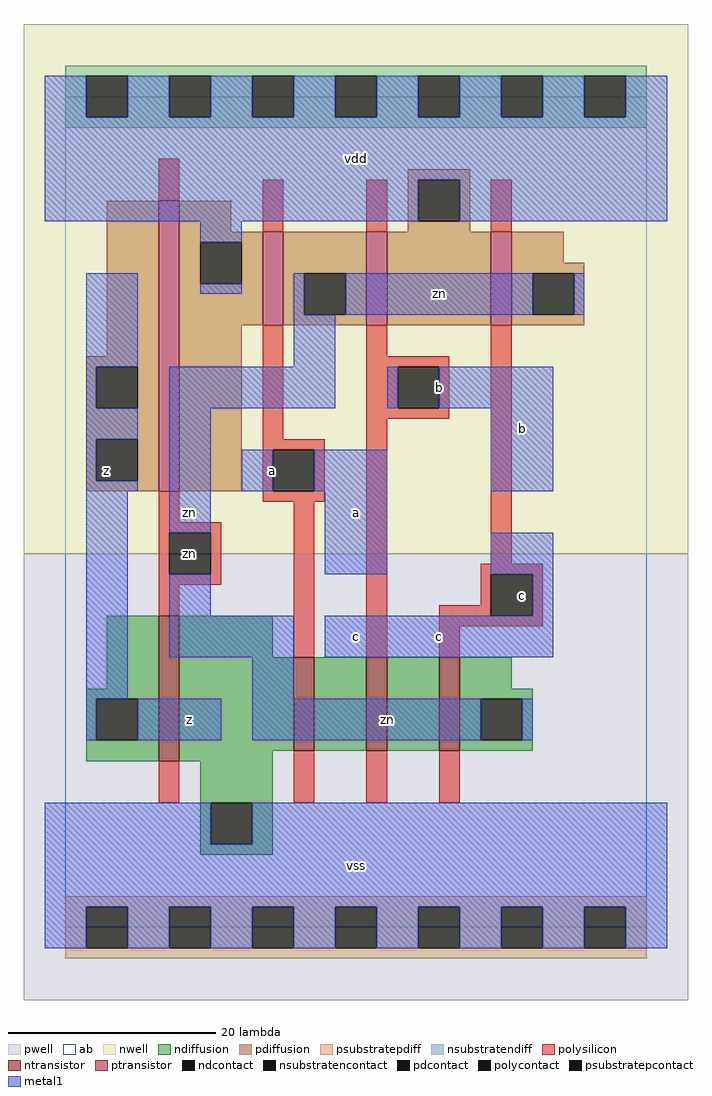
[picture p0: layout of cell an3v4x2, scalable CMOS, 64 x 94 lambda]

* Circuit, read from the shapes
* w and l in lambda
.subckt an3v4x2 a b c vdd vss z zn
M1 vss zn z vss nfet w=14 l=2
M2 n1 a vss vss nfet w=9 l=2
M3 n2 b n1 vss nfet w=9 l=2
M4 zn c n2 vss nfet w=9 l=2
M5 vdd zn z vdd pfet w=28 l=2
M6 zn a vdd vdd pfet w=9 l=2
M7 vdd b zn vdd pfet w=9 l=2
M8 zn c vdd vdd pfet w=9 l=2
.ends

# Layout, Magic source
magic
tech scmos
<< ab >>
rect 0 0 56 80
<< pwell >>
rect -4 -7 60 36
<< nwell >>
rect -4 36 60 87
<< polysilicon >>
rect 9 70 11 74
rect 19 67 21 72
rect 29 67 31 72
rect 41 67 43 72
rect 19 47 21 58
rect 29 55 31 58
rect 29 54 37 55
rect 29 50 32 54
rect 36 50 37 54
rect 29 49 37 50
rect 19 46 25 47
rect 19 42 20 46
rect 24 42 25 46
rect 9 39 11 42
rect 19 41 25 42
rect 9 38 15 39
rect 9 34 10 38
rect 14 34 15 38
rect 9 33 15 34
rect 9 30 11 33
rect 22 26 24 41
rect 29 26 31 49
rect 41 35 43 58
rect 40 34 46 35
rect 40 31 41 34
rect 36 30 41 31
rect 45 30 46 34
rect 36 29 46 30
rect 36 26 38 29
rect 9 12 11 16
rect 22 12 24 17
rect 29 12 31 17
rect 36 12 38 17
<< ndiffusion >>
rect 4 23 9 30
rect 2 22 9 23
rect 2 18 3 22
rect 7 18 9 22
rect 2 16 9 18
rect 11 26 20 30
rect 11 17 22 26
rect 24 17 29 26
rect 31 17 36 26
rect 38 23 43 26
rect 38 22 45 23
rect 38 18 40 22
rect 44 18 45 22
rect 38 17 45 18
rect 11 16 20 17
rect 13 12 20 16
rect 13 8 14 12
rect 18 8 20 12
rect 13 7 20 8
<< pdiffusion >>
rect 33 72 39 73
rect 4 55 9 70
rect 2 54 9 55
rect 2 50 3 54
rect 7 50 9 54
rect 2 47 9 50
rect 2 43 3 47
rect 7 43 9 47
rect 2 42 9 43
rect 11 67 16 70
rect 33 68 34 72
rect 38 68 39 72
rect 33 67 39 68
rect 11 66 19 67
rect 11 62 13 66
rect 17 62 19 66
rect 11 58 19 62
rect 21 63 29 67
rect 21 59 23 63
rect 27 59 29 63
rect 21 58 29 59
rect 31 58 41 67
rect 43 64 48 67
rect 43 63 50 64
rect 43 59 45 63
rect 49 59 50 63
rect 43 58 50 59
rect 11 42 17 58
<< metal1 >>
rect -2 78 2 82
rect 6 78 10 82
rect 14 78 18 82
rect 22 78 26 82
rect 30 78 34 82
rect 38 78 42 82
rect 46 78 50 82
rect 54 78 58 82
rect -2 72 58 78
rect -2 68 34 72
rect 38 68 58 72
rect 13 66 17 68
rect 2 54 7 63
rect 13 61 17 62
rect 22 59 23 63
rect 27 59 45 63
rect 49 59 50 63
rect 22 54 26 59
rect 2 50 3 54
rect 2 47 7 50
rect 2 43 3 47
rect 2 42 7 43
rect 10 50 26 54
rect 31 50 32 54
rect 36 50 47 54
rect 2 22 6 42
rect 10 38 14 50
rect 17 42 20 46
rect 24 42 31 46
rect 41 42 47 50
rect 25 34 31 42
rect 41 34 47 38
rect 10 30 14 34
rect 45 30 47 34
rect 10 26 22 30
rect 25 26 47 30
rect 18 22 22 26
rect 2 18 3 22
rect 7 18 15 22
rect 18 18 40 22
rect 44 18 45 22
rect -2 8 14 12
rect 18 8 58 12
rect -2 2 58 8
rect -2 -2 2 2
rect 6 -2 10 2
rect 14 -2 18 2
rect 22 -2 26 2
rect 30 -2 34 2
rect 38 -2 42 2
rect 46 -2 50 2
rect 54 -2 58 2
<< ntransistor >>
rect 9 16 11 30
rect 22 17 24 26
rect 29 17 31 26
rect 36 17 38 26
<< ptransistor >>
rect 9 42 11 70
rect 19 58 21 67
rect 29 58 31 67
rect 41 58 43 67
<< polycontact >>
rect 32 50 36 54
rect 20 42 24 46
rect 10 34 14 38
rect 41 30 45 34
<< ndcontact >>
rect 3 18 7 22
rect 40 18 44 22
rect 14 8 18 12
<< pdcontact >>
rect 3 50 7 54
rect 3 43 7 47
rect 34 68 38 72
rect 13 62 17 66
rect 23 59 27 63
rect 45 59 49 63
<< psubstratepcontact >>
rect 2 -2 6 2
rect 10 -2 14 2
rect 18 -2 22 2
rect 26 -2 30 2
rect 34 -2 38 2
rect 42 -2 46 2
rect 50 -2 54 2
<< nsubstratencontact >>
rect 2 78 6 82
rect 10 78 14 82
rect 18 78 22 82
rect 26 78 30 82
rect 34 78 38 82
rect 42 78 46 82
rect 50 78 54 82
<< psubstratepdiff >>
rect 0 2 56 3
rect 0 -2 2 2
rect 6 -2 10 2
rect 14 -2 18 2
rect 22 -2 26 2
rect 30 -2 34 2
rect 38 -2 42 2
rect 46 -2 50 2
rect 54 -2 56 2
rect 0 -3 56 -2
<< nsubstratendiff >>
rect 0 82 56 83
rect 0 78 2 82
rect 6 78 10 82
rect 14 78 18 82
rect 22 78 26 82
rect 30 78 34 82
rect 38 78 42 82
rect 46 78 50 82
rect 54 78 56 82
rect 0 77 56 78
<< labels >>
rlabel polycontact 12 36 12 36 6 zn
rlabel pdcontact 4 44 4 44 6 z
rlabel metal1 12 20 12 20 6 z
rlabel metal1 20 44 20 44 6 a
rlabel metal1 12 40 12 40 6 zn
rlabel metal1 28 6 28 6 6 vss
rlabel metal1 28 28 28 28 6 c
rlabel metal1 36 28 36 28 6 c
rlabel metal1 28 40 28 40 6 a
rlabel metal1 36 52 36 52 6 b
rlabel metal1 28 74 28 74 6 vdd
rlabel metal1 31 20 31 20 6 zn
rlabel polycontact 44 32 44 32 6 c
rlabel metal1 44 48 44 48 6 b
rlabel metal1 36 61 36 61 6 zn
<< end >>
